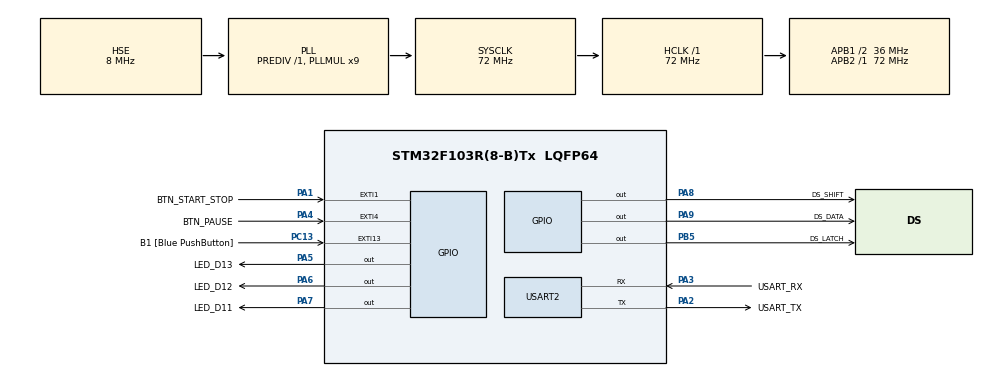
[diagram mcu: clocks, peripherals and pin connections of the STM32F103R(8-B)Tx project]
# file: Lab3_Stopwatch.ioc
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Mcu.Family=STM32F1
Mcu.Name=STM32F103R(8-B)Tx
Mcu.Package=LQFP64
NVIC.EXTI1_IRQn=true\:0\:0\:false\:false\:true\:true\:true\:true
NVIC.EXTI4_IRQn=true\:0\:0\:false\:false\:true\:true\:true\:true
NVIC.PriorityGroup=NVIC_PRIORITYGROUP_4
NVIC.TIM1_UP_IRQn=true\:0\:0\:false\:false\:true\:true\:true\:true
NVIC.TIM2_IRQn=true\:0\:0\:false\:false\:true\:true\:true\:true
PA1.GPIO_Label=BTN_START_STOP
PA1.GPIO_PuPd=GPIO_PULLDOWN
PA1.Signal=GPXTI1
PA13.GPIO_Label=TMS
PA13.Mode=Serial_Wire
PA13.Signal=SYS_JTMS-SWDIO
PA14.GPIO_Label=TCK
PA14.Mode=Serial_Wire
PA14.Signal=SYS_JTCK-SWCLK
PA2.GPIO_Label=USART_TX
PA2.GPIO_Mode=GPIO_MODE_AF_PP
PA2.GPIO_PuPd=GPIO_NOPULL
PA2.GPIO_Speed=GPIO_SPEED_FREQ_LOW
PA2.Mode=Asynchronous
PA2.Signal=USART2_TX
PA3.GPIO_Label=USART_RX
PA3.GPIO_Mode=GPIO_MODE_AF_PP
PA3.GPIO_PuPd=GPIO_NOPULL
PA3.GPIO_Speed=GPIO_SPEED_FREQ_LOW
PA3.Mode=Asynchronous
PA3.Signal=USART2_RX
PA4.GPIO_Label=BTN_PAUSE
PA4.GPIO_PuPd=GPIO_PULLDOWN
PA4.Signal=GPXTI4
PA5.GPIO_Label=LED_D13
PA5.Signal=GPIO_Output
PA6.GPIO_Label=LED_D12
PA6.Signal=GPIO_Output
PA7.GPIO_Label=LED_D11
PA7.Signal=GPIO_Output
PA8.GPIO_Label=DS_SHIFT
PA8.Signal=GPIO_Output
PA9.GPIO_Label=DS_DATA
PA9.Signal=GPIO_Output
PB3.GPIO_Label=SWO
PB3.Signal=SYS_JTDO-TRACESWO
PB5.GPIO_Label=DS_LATCH
PB5.Signal=GPIO_Output
PC13-TAMPER-RTC.GPIO_Label=B1 [Blue PushButton]
PC13-TAMPER-RTC.GPIO_PuPd=GPIO_NOPULL
PC13-TAMPER-RTC.Signal=GPXTI13
PC14-OSC32_IN.Mode=LSE-External-Oscillator
PC14-OSC32_IN.Signal=RCC_OSC32_IN
PC15-OSC32_OUT.Mode=LSE-External-Oscillator
PC15-OSC32_OUT.Signal=RCC_OSC32_OUT
PD0-OSC_IN.Mode=HSE-External-Clock-Source
PD0-OSC_IN.Signal=RCC_OSC_IN
PD1-OSC_OUT.Mode=HSE-External-Clock-Source
PD1-OSC_OUT.Signal=RCC_OSC_OUT
ProjectManager.HeapSize=0x200
ProjectManager.StackSize=0x400
ProjectManager.TargetToolchain=MDK-ARM V5.32
RCC.AHBFreq_Value=72000000
RCC.APB1CLKDivider=RCC_HCLK_DIV2
RCC.APB1Freq_Value=36000000
RCC.APB1TimFreq_Value=72000000
RCC.APB2Freq_Value=72000000
RCC.APB2TimFreq_Value=72000000
RCC.HCLKFreq_Value=72000000
RCC.PLLMUL=RCC_PLL_MUL9
RCC.PLLSourceVirtual=RCC_PLLSOURCE_HSE
RCC.RTCClockSelection=RCC_RTCCLKSOURCE_LSE
RCC.SYSCLKFreq_VALUE=72000000
RCC.SYSCLKSource=RCC_SYSCLKSOURCE_PLLCLK
RCC.USBFreq_Value=72000000
TIM1.Period=999
TIM1.Prescaler=7199
TIM2.Period=49
TIM2.Prescaler=7199
USART2.VirtualMode=VM_ASYNC
VP_TIM1_VS_ClockSourceINT.Mode=Internal
VP_TIM2_VS_ClockSourceINT.Mode=Internal
board=NUCLEO-F103RB

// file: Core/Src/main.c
/* USER CODE BEGIN Header */
/**
  ******************************************************************************
  * @file           : main.c
  * @brief          : Main program body
  ******************************************************************************
  * @attention
  *
  * Copyright (c) 2022 STMicroelectronics.
  * All rights reserved.
  *
  * This software is licensed under terms that can be found in the LICENSE file
  * in the root directory of this software component.
  * If no LICENSE file comes with this software, it is provided AS-IS.
  *
  ******************************************************************************
  */
/* USER CODE END Header */
#include "main.h"

TIM_HandleTypeDef htim1;
TIM_HandleTypeDef htim2;

UART_HandleTypeDef huart2;

/* USER CODE BEGIN PV */
const uint8_t simple_digits[]   = { 0xC0, 0xF9, 0xA4, 0xB0, 0x99, 0x92, 0x82, 0xD8, 0x80, 0x90 };
                            /*  0.    1.    2.    3.    4.    5.    6.    7.    8.    9.  */
const uint8_t digits_with_dot[] = { 0x40, 0x79, 0x24, 0x30, 0x19, 0x12, 0x02, 0x58, 0x00, 0x10 };
                      /*   1     2     3     4  */
const uint8_t positions[] = { 0x08, 0x04, 0x02, 0x01 };

uint8_t is_stopwatch_running;
uint8_t is_pause;
volatile uint16_t stopwatch_time;
volatile uint8_t pos_to_draw;

volatile uint8_t flag_irq_btn_start_stop;
volatile uint32_t time_irq_btn_start_stop;
volatile uint8_t flag_irq_btn_pause;
volatile uint32_t time_irq_btn_pause;
/* USER CODE END PV */

void SystemClock_Config(void);
static void MX_GPIO_Init(void);
static void MX_USART2_UART_Init(void);
static void MX_TIM1_Init(void);
static void MX_TIM2_Init(void);
/* USER CODE BEGIN PFP */
void write_digit(uint8_t pos, uint8_t digit);
void set_led(GPIO_TypeDef* port, uint8_t pin);
/* USER CODE END PFP */

/* USER CODE BEGIN 0 */
void write_digit(uint8_t pos, uint8_t digit) {
  int j = 0;
	while(j < 8) {
	  if (((digit << j) & 0x80) != 0) {
		  HAL_GPIO_WritePin(DS_DATA_GPIO_Port, DS_DATA_Pin, GPIO_PIN_SET);
		} else {
		  HAL_GPIO_WritePin(DS_DATA_GPIO_Port, DS_DATA_Pin, GPIO_PIN_RESET);
		}
		HAL_GPIO_WritePin(DS_SHIFT_GPIO_Port, DS_SHIFT_Pin, GPIO_PIN_SET);
		HAL_GPIO_WritePin(DS_SHIFT_GPIO_Port, DS_SHIFT_Pin, GPIO_PIN_RESET);
		j++;
	}

	j = 0;
	while(j < 8) {
	  if (((pos << j) & 0x80) != 0) {
		  HAL_GPIO_WritePin(DS_DATA_GPIO_Port, DS_DATA_Pin, GPIO_PIN_SET);
		} else {
		  HAL_GPIO_WritePin(DS_DATA_GPIO_Port, DS_DATA_Pin, GPIO_PIN_RESET);
		}
		HAL_GPIO_WritePin(DS_SHIFT_GPIO_Port, DS_SHIFT_Pin, GPIO_PIN_SET);
		HAL_GPIO_WritePin(DS_SHIFT_GPIO_Port, DS_SHIFT_Pin, GPIO_PIN_RESET);
		j++;
	}

	HAL_GPIO_WritePin(DS_LATCH_GPIO_Port, DS_LATCH_Pin, GPIO_PIN_SET);
	HAL_GPIO_WritePin(DS_LATCH_GPIO_Port, DS_LATCH_Pin, GPIO_PIN_RESET);
}

void set_led(GPIO_TypeDef* port, uint8_t pin) {
  HAL_GPIO_WritePin(LED_D13_GPIO_Port, LED_D13_Pin, GPIO_PIN_SET);
	HAL_GPIO_WritePin(LED_D12_GPIO_Port, LED_D12_Pin, GPIO_PIN_SET);
  HAL_GPIO_WritePin(LED_D11_GPIO_Port, LED_D11_Pin, GPIO_PIN_SET);
	HAL_GPIO_WritePin(port, pin, GPIO_PIN_RESET);
}

void HAL_TIM_PeriodElapsedCallback(TIM_HandleTypeDef *htim)
{
   if(htim->Instance == TIM1) {
		 if (stopwatch_time < 9999) {
		   stopwatch_time++;
		 } else {
		   stopwatch_time = 0;
		 }
	 }

	 if(htim->Instance == TIM2) {
	   switch (pos_to_draw) {
		   case 0:
				 write_digit(positions[0], simple_digits[stopwatch_time % 10]);
			   break;
			 case 1:
				 write_digit(positions[1], digits_with_dot[stopwatch_time / 10 % 10]);
			   break;
			 case 2:
				 if (((stopwatch_time / 100 % 10) != 0) || ((stopwatch_time / 1000) != 0)) {
					 write_digit(positions[2], simple_digits[stopwatch_time / 100 % 10]);
				 }
			   break;
			 case 3:
				 if ((stopwatch_time / 1000) != 0) {
					 write_digit(positions[3], simple_digits[stopwatch_time / 1000]);
				 }
			   break;
		 }

		 if(pos_to_draw == 3) {
		   pos_to_draw = 0;
		 } else {
		   pos_to_draw++;
		 }
	 }
}

void HAL_GPIO_EXTI_Callback(uint16_t GPIO_Pin)
{
  if(GPIO_Pin == BTN_START_STOP_Pin) {
		HAL_NVIC_DisableIRQ(EXTI1_IRQn);
		flag_irq_btn_start_stop = 1;
    time_irq_btn_start_stop = HAL_GetTick();

    if(!is_stopwatch_running) {
		  is_stopwatch_running = 1;
			HAL_TIM_Base_Start_IT(&htim1);
			set_led(LED_D12_GPIO_Port, LED_D12_Pin);
		} else if(is_stopwatch_running || is_pause) {
		  is_stopwatch_running = 0;
			is_pause = 0;
			HAL_TIM_Base_Stop_IT(&htim1);
			stopwatch_time = 0;
			set_led(LED_D13_GPIO_Port, LED_D13_Pin);
		}
  }

	if(GPIO_Pin == BTN_PAUSE_Pin) {
		HAL_NVIC_DisableIRQ(EXTI4_IRQn);
		flag_irq_btn_pause = 1;
    time_irq_btn_pause = HAL_GetTick();

    if(is_stopwatch_running && !is_pause) {
			is_pause = 1;
			HAL_TIM_Base_Stop_IT(&htim1);
			set_led(LED_D11_GPIO_Port, LED_D11_Pin);
		} else if (is_stopwatch_running && is_pause) {
		  is_pause = 0;
			HAL_TIM_Base_Start_IT(&htim1);
			set_led(LED_D12_GPIO_Port, LED_D12_Pin);
		}
  }

}
/* USER CODE END 0 */

int main(void)
{

  /* MCU Configuration--------------------------------------------------------*/

  /* Reset of all peripherals, Initializes the Flash interface and the Systick. */
  HAL_Init();

  /* Configure the system clock */
  SystemClock_Config();

  /* Initialize all configured peripherals */
  MX_GPIO_Init();
  MX_USART2_UART_Init();
  MX_TIM1_Init();
  MX_TIM2_Init();
  /* USER CODE BEGIN 2 */
	HAL_GPIO_WritePin(LED_D13_GPIO_Port, LED_D13_Pin, GPIO_PIN_RESET);
	HAL_GPIO_WritePin(LED_D12_GPIO_Port, LED_D12_Pin, GPIO_PIN_SET);
	HAL_GPIO_WritePin(LED_D11_GPIO_Port, LED_D11_Pin, GPIO_PIN_SET);
	HAL_TIM_Base_Start_IT(&htim2);
  /* USER CODE END 2 */

  /* Infinite loop */
  /* USER CODE BEGIN WHILE */
  while (1)
  {
		if(flag_irq_btn_start_stop && (HAL_GetTick() - time_irq_btn_start_stop) > 300) {
      __HAL_GPIO_EXTI_CLEAR_IT(BTN_START_STOP_Pin);
      NVIC_ClearPendingIRQ(EXTI1_IRQn);
      HAL_NVIC_EnableIRQ(EXTI1_IRQn);
      flag_irq_btn_start_stop = 0;
    }

		if(flag_irq_btn_pause && (HAL_GetTick() - time_irq_btn_pause) > 300) {
      __HAL_GPIO_EXTI_CLEAR_IT(BTN_PAUSE_Pin);
      NVIC_ClearPendingIRQ(EXTI4_IRQn);
      HAL_NVIC_EnableIRQ(EXTI4_IRQn);
      flag_irq_btn_pause = 0;
    }
    /* USER CODE END WHILE */

  }
}

void SystemClock_Config(void)
{
  RCC_OscInitTypeDef RCC_OscInitStruct = {0};
  RCC_ClkInitTypeDef RCC_ClkInitStruct = {0};

  /** Initializes the RCC Oscillators according to the specified parameters
  * in the RCC_OscInitTypeDef structure.
  */
  RCC_OscInitStruct.OscillatorType = RCC_OSCILLATORTYPE_HSE;
  RCC_OscInitStruct.HSEState = RCC_HSE_BYPASS;
  RCC_OscInitStruct.HSEPredivValue = RCC_HSE_PREDIV_DIV1;
  RCC_OscInitStruct.HSIState = RCC_HSI_ON;
  RCC_OscInitStruct.PLL.PLLState = RCC_PLL_ON;
  RCC_OscInitStruct.PLL.PLLSource = RCC_PLLSOURCE_HSE;
  RCC_OscInitStruct.PLL.PLLMUL = RCC_PLL_MUL9;
  if (HAL_RCC_OscConfig(&RCC_OscInitStruct) != HAL_OK)
  {
    Error_Handler();
  }

  /** Initializes the CPU, AHB and APB buses clocks
  */
  RCC_ClkInitStruct.ClockType = RCC_CLOCKTYPE_HCLK|RCC_CLOCKTYPE_SYSCLK
                              |RCC_CLOCKTYPE_PCLK1|RCC_CLOCKTYPE_PCLK2;
  RCC_ClkInitStruct.SYSCLKSource = RCC_SYSCLKSOURCE_PLLCLK;
  RCC_ClkInitStruct.AHBCLKDivider = RCC_SYSCLK_DIV1;
  RCC_ClkInitStruct.APB1CLKDivider = RCC_HCLK_DIV2;
  RCC_ClkInitStruct.APB2CLKDivider = RCC_HCLK_DIV1;

  if (HAL_RCC_ClockConfig(&RCC_ClkInitStruct, FLASH_LATENCY_2) != HAL_OK)
  {
    Error_Handler();
  }
}

static void MX_TIM1_Init(void)
{

  TIM_ClockConfigTypeDef sClockSourceConfig = {0};
  TIM_MasterConfigTypeDef sMasterConfig = {0};

  htim1.Instance = TIM1;
  htim1.Init.Prescaler = 7199;
  htim1.Init.CounterMode = TIM_COUNTERMODE_UP;
  htim1.Init.Period = 999;
  htim1.Init.ClockDivision = TIM_CLOCKDIVISION_DIV1;
  htim1.Init.RepetitionCounter = 0;
  htim1.Init.AutoReloadPreload = TIM_AUTORELOAD_PRELOAD_DISABLE;
  if (HAL_TIM_Base_Init(&htim1) != HAL_OK)
  {
    Error_Handler();
  }
  sClockSourceConfig.ClockSource = TIM_CLOCKSOURCE_INTERNAL;
  if (HAL_TIM_ConfigClockSource(&htim1, &sClockSourceConfig) != HAL_OK)
  {
    Error_Handler();
  }
  sMasterConfig.MasterOutputTrigger = TIM_TRGO_RESET;
  sMasterConfig.MasterSlaveMode = TIM_MASTERSLAVEMODE_DISABLE;
  if (HAL_TIMEx_MasterConfigSynchronization(&htim1, &sMasterConfig) != HAL_OK)
  {
    Error_Handler();
  }

}

static void MX_TIM2_Init(void)
{

  TIM_ClockConfigTypeDef sClockSourceConfig = {0};
  TIM_MasterConfigTypeDef sMasterConfig = {0};

  htim2.Instance = TIM2;
  htim2.Init.Prescaler = 7199;
  htim2.Init.CounterMode = TIM_COUNTERMODE_UP;
  htim2.Init.Period = 49;
  htim2.Init.ClockDivision = TIM_CLOCKDIVISION_DIV1;
  htim2.Init.AutoReloadPreload = TIM_AUTORELOAD_PRELOAD_DISABLE;
  if (HAL_TIM_Base_Init(&htim2) != HAL_OK)
  {
    Error_Handler();
  }
  sClockSourceConfig.ClockSource = TIM_CLOCKSOURCE_INTERNAL;
  if (HAL_TIM_ConfigClockSource(&htim2, &sClockSourceConfig) != HAL_OK)
  {
    Error_Handler();
  }
  sMasterConfig.MasterOutputTrigger = TIM_TRGO_RESET;
  sMasterConfig.MasterSlaveMode = TIM_MASTERSLAVEMODE_DISABLE;
  if (HAL_TIMEx_MasterConfigSynchronization(&htim2, &sMasterConfig) != HAL_OK)
  {
    Error_Handler();
  }

}

static void MX_USART2_UART_Init(void)
{

  huart2.Instance = USART2;
  huart2.Init.BaudRate = 115200;
  huart2.Init.WordLength = UART_WORDLENGTH_8B;
  huart2.Init.StopBits = UART_STOPBITS_1;
  huart2.Init.Parity = UART_PARITY_NONE;
  huart2.Init.Mode = UART_MODE_TX_RX;
  huart2.Init.HwFlowCtl = UART_HWCONTROL_NONE;
  huart2.Init.OverSampling = UART_OVERSAMPLING_16;
  if (HAL_UART_Init(&huart2) != HAL_OK)
  {
    Error_Handler();
  }

}

static void MX_GPIO_Init(void)
{
  GPIO_InitTypeDef GPIO_InitStruct = {0};

  /* GPIO Ports Clock Enable */
  __HAL_RCC_GPIOC_CLK_ENABLE();
  __HAL_RCC_GPIOD_CLK_ENABLE();
  __HAL_RCC_GPIOA_CLK_ENABLE();
  __HAL_RCC_GPIOB_CLK_ENABLE();

  /*Configure GPIO pin Output Level */
  HAL_GPIO_WritePin(GPIOA, LED_D13_Pin|LED_D12_Pin|LED_D11_Pin|DS_SHIFT_Pin
                          |DS_DATA_Pin, GPIO_PIN_RESET);

  /*Configure GPIO pin Output Level */
  HAL_GPIO_WritePin(DS_LATCH_GPIO_Port, DS_LATCH_Pin, GPIO_PIN_RESET);

  /*Configure GPIO pin : B1_Pin */
  GPIO_InitStruct.Pin = B1_Pin;
  GPIO_InitStruct.Mode = GPIO_MODE_IT_RISING;
  GPIO_InitStruct.Pull = GPIO_NOPULL;
  HAL_GPIO_Init(B1_GPIO_Port, &GPIO_InitStruct);

  /*Configure GPIO pins : BTN_START_STOP_Pin BTN_PAUSE_Pin */
  GPIO_InitStruct.Pin = BTN_START_STOP_Pin|BTN_PAUSE_Pin;
  GPIO_InitStruct.Mode = GPIO_MODE_IT_RISING;
  GPIO_InitStruct.Pull = GPIO_PULLDOWN;
  HAL_GPIO_Init(GPIOA, &GPIO_InitStruct);

  /*Configure GPIO pins : LED_D13_Pin LED_D12_Pin LED_D11_Pin DS_SHIFT_Pin
                           DS_DATA_Pin */
  GPIO_InitStruct.Pin = LED_D13_Pin|LED_D12_Pin|LED_D11_Pin|DS_SHIFT_Pin
                          |DS_DATA_Pin;
  GPIO_InitStruct.Mode = GPIO_MODE_OUTPUT_PP;
  GPIO_InitStruct.Pull = GPIO_NOPULL;
  GPIO_InitStruct.Speed = GPIO_SPEED_FREQ_LOW;
  HAL_GPIO_Init(GPIOA, &GPIO_InitStruct);

  /*Configure GPIO pin : DS_LATCH_Pin */
  GPIO_InitStruct.Pin = DS_LATCH_Pin;
  GPIO_InitStruct.Mode = GPIO_MODE_OUTPUT_PP;
  GPIO_InitStruct.Pull = GPIO_NOPULL;
  GPIO_InitStruct.Speed = GPIO_SPEED_FREQ_LOW;
  HAL_GPIO_Init(DS_LATCH_GPIO_Port, &GPIO_InitStruct);

  /* EXTI interrupt init*/
  HAL_NVIC_SetPriority(EXTI1_IRQn, 0, 0);
  HAL_NVIC_EnableIRQ(EXTI1_IRQn);

  HAL_NVIC_SetPriority(EXTI4_IRQn, 0, 0);
  HAL_NVIC_EnableIRQ(EXTI4_IRQn);

}

void Error_Handler(void)
{
  __disable_irq();
  while (1)
  {
  }
}
